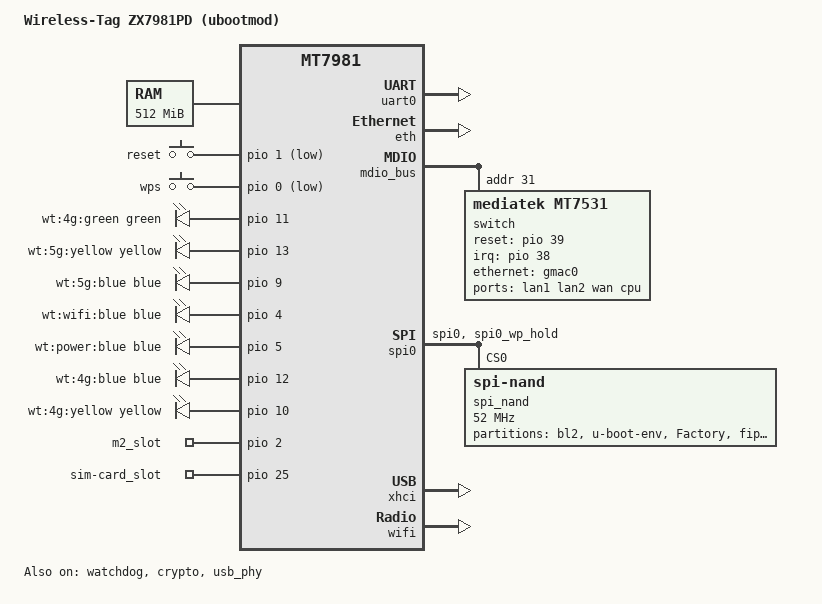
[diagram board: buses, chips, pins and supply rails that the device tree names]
/dts-v1/;

#include "mt7981.dtsi"
#include <dt-bindings/gpio/gpio.h>
#include <dt-bindings/input/input.h>
#include <dt-bindings/leds/common.h>

/ {
	model = "Wireless-Tag ZX7981PD (ubootmod)";
	compatible = "wirelesstag,zx7981pd-ubootmod", "mediatek,mt7981";

	aliases {
		ethernet0 = &gmac0;
		ethernet1 = &gmac1;
		serial0 = &uart0;
	};

	chosen {
		stdout-path = "serial0:115200n8";
		bootargs = "root=/dev/fit0 rootwait";
		bootargs-append = " console=ttyS0,115200n8";
		rootdisk = <&ubi_rootdisk>;
	};

	memory {
		reg = <0 0x40000000 0 0x20000000>;
	};

	gpio-keys {
		compatible = "gpio-keys";

		button-reset {
			label = "reset";
			linux,code = <KEY_RESTART>;
			gpios = <&pio 1 GPIO_ACTIVE_LOW>;
		};

		button-wps {
			label = "wps";
			linux,code = <KEY_WPS_BUTTON>;
			gpios = <&pio 0 GPIO_ACTIVE_LOW>;
		};
	};

	gpio-leds {
		compatible = "gpio-leds";

		led-0 {
			label = "wt:4g:green";
			color = <LED_COLOR_ID_GREEN>;
			gpios = <&pio 11 GPIO_ACTIVE_HIGH>;
			default-state = "off";
		};

		led-1 {
			label = "wt:5g:yellow";
			color = <LED_COLOR_ID_YELLOW>;
			gpios = <&pio 13 GPIO_ACTIVE_HIGH>;
			default-state = "off";
		};

		led-2 {
			label = "wt:5g:blue";
			color = <LED_COLOR_ID_BLUE>;
			gpios = <&pio 9 GPIO_ACTIVE_HIGH>;
			default-state = "off";
		};

		led-3 {
			label = "wt:wifi:blue";
			color = <LED_COLOR_ID_BLUE>;
			gpios = <&pio 4 GPIO_ACTIVE_HIGH>;
			default-state = "off";
		};

		led-4 {
			label = "wt:power:blue";
			color = <LED_COLOR_ID_BLUE>;
			function = LED_FUNCTION_POWER;
			gpios = <&pio 5 GPIO_ACTIVE_HIGH>;
			default-state = "on";
		};

		led-5 {
			label = "wt:4g:blue";
			color = <LED_COLOR_ID_BLUE>;
			gpios = <&pio 12 GPIO_ACTIVE_HIGH>;
			default-state = "off";
		};

		led-6 {
			label = "wt:4g:yellow";
			color = <LED_COLOR_ID_YELLOW>;
			gpios = <&pio 10 GPIO_ACTIVE_HIGH>;
			default-state = "off";
		};
	};

	gpio-export {
		compatible = "gpio-export";

		m2_slot {
			gpio-export,name = "m2_slot";
			gpio-export,output = <0>;
			gpios = <&pio 2 0>;
		};

		sim-card_slot {
			gpio-export,name = "sim-card_slot";
			gpio-export,output = <1>;
			gpios = <&pio 25 0>;
		};
	};
};

&uart0 {
	status = "okay";
};

&watchdog {
	status = "okay";
};

&eth {
	status = "okay";

	gmac0: mac@0 {
		compatible = "mediatek,eth-mac";
		reg = <0>;
		phy-mode = "2500base-x";
		nvmem-cell-names = "mac-address";
		nvmem-cells = <&macaddr_factory_4 (-1)>;

		fixed-link {
			speed = <2500>;
			full-duplex;
			pause;
		};
	};

	// FAKE ETH1 interface dedicated to USB Offload
	gmac1: mac@1 {
		compatible = "mediatek,eth-mac";
		reg = <1>;
		phy-mode = "gmii";
		phy-handle = <&int_gbe_phy>;
	};
};

&mdio_bus {
	switch: switch@1f {
		compatible = "mediatek,mt7531";
		reg = <31>;
		reset-gpios = <&pio 39 GPIO_ACTIVE_HIGH>;
		interrupt-controller;
		#interrupt-cells = <1>;
		interrupt-parent = <&pio>;
		interrupts = <38 IRQ_TYPE_LEVEL_HIGH>;
	};
};

&crypto {
	status = "okay";
};

&switch {
	ports {
		#address-cells = <1>;
		#size-cells = <0>;

		port@0 {
			reg = <0>;
			label = "lan1";
		};

		port@1 {
			reg = <1>;
			label = "lan2";
		};

		port@2 {
			reg = <2>;
			label = "wan";
		};

		port@6 {
			reg = <6>;
			label = "cpu";
			ethernet = <&gmac0>;
			phy-mode = "2500base-x";

			fixed-link {
				speed = <2500>;
				full-duplex;
				pause;
			};
		};
	};
};

&spi0 {
	pinctrl-names = "default";
	pinctrl-0 = <&spi0_flash_pins>;
	status = "okay";

	spi_nand: flash@0 {
		#address-cells = <1>;
		#size-cells = <1>;
		compatible = "spi-nand";
		reg = <0>;

		spi-max-frequency = <52000000>;
		spi-tx-bus-width = <4>;
		spi-rx-bus-width = <4>;

		partitions {
			compatible = "fixed-partitions";
			#address-cells = <1>;
			#size-cells = <1>;

			partition@0 {
				label = "bl2";
				reg = <0x00000 0x0100000>;
			};

			partition@100000 {
				label = "u-boot-env";
				reg = <0x0100000 0x0080000>;
			};

			partition@180000 {
				label = "Factory";
				reg = <0x180000 0x200000>;
				read-only;

				nvmem-layout {
					compatible = "fixed-layout";
					#address-cells = <1>;
					#size-cells = <1>;

					eeprom_factory_0: eeprom@0 {
						reg = <0x0 0x1000>;
					};

					macaddr_factory_4: macaddr@4 {
						compatible = "mac-base";
						reg = <0x4 0x6>;
						#nvmem-cell-cells = <1>;
					};
				};
			};

			partition@380000 {
				label = "fip";
				reg = <0x380000 0x0200000>;
			};

			partition@580000 {
				label = "woem";
				reg = <0x580000 0x0a0000>;
				read-only;
			};

			partition@620000 {
				label = "ubi";
				reg = <0x620000 0x7000000>;
				compatible = "linux,ubi";

				volumes {
					ubi_rootdisk: ubi-volume-fit {
						volname = "fit";
					};

					ubi-volume-recovery {
						volname = "recovery";
					};
				};
			};

			partition@7620000 {
				label = "wtinfo";
				reg = <0x7620000 0x060000>;
				read-only;
			};

			partition@7680000 {
				label = "nvram";
				reg = <0x7680000 0x060000>;
				read-only;
			};
		};
	};
};

&pio {
	spi0_flash_pins: spi0-pins {
		mux {
			function = "spi";
			groups = "spi0", "spi0_wp_hold";
		};
	};
};

&usb_phy {
	status = "okay";
};

&xhci {
	status = "okay";
};

&wifi {
	nvmem-cells = <&eeprom_factory_0>;
	nvmem-cell-names = "eeprom";
	status = "okay";
};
